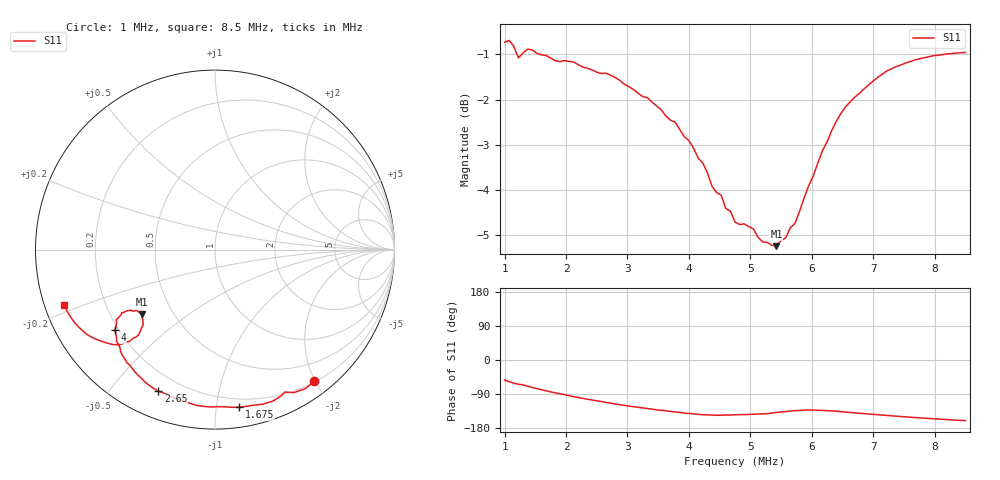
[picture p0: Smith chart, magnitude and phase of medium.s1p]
# HZ S RI R 50
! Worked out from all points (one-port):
!   101 points, 1 MHz to 8.5 MHz, reference 50 ohm
!   lowest |S11| = -5.3 dB at 5.425 MHz (marker M1), VSWR 3.40, Z = 16.6 - j17.1 ohm
!   |S11| at or under -10 dB: nowhere
!   S11 on the Smith chart (normalised r, x): 1 MHz: 0.21, -1.99; 1.675 MHz: 0.14, -1.16; 2.65 MHz: 0.12, -0.67; 4 MHz: 0.19, -0.34; 8.5 MHz: 0.06, -0.18
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1000000  0.5536 -0.7343
1075000  0.502 -0.7754
1150000  0.4396 -0.7967
1225000  0.388 -0.7937
1300000  0.3682 -0.8153
1450000  0.268 -0.861
1675000  0.1361 -0.8783
1975000  -0.0213 -0.8771
2275000  -0.1697 -0.846
2650000  -0.3154 -0.7889
2875000  -0.3902 -0.7373
3475000  -0.5185 -0.5845
3850000  -0.5485 -0.4905
4000000  -0.557 -0.4485
4225000  -0.5503 -0.3915
4450000  -0.5189 -0.3503
4750000  -0.4718 -0.3385
4975000  -0.4628 -0.3396
5200000  -0.4358 -0.339
5425000  -0.4093 -0.3613
5725000  -0.3998 -0.418
5950000  -0.4251 -0.4749
6175000  -0.4746 -0.5107
6400000  -0.5333 -0.5296
6625000  -0.5912 -0.5232
7225000  -0.7112 -0.4742
7600000  -0.7646 -0.4256
8500000  -0.8416 -0.3072
